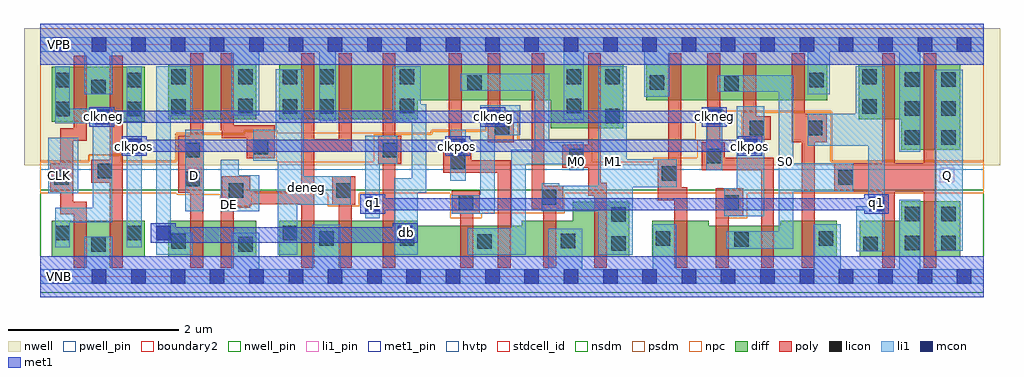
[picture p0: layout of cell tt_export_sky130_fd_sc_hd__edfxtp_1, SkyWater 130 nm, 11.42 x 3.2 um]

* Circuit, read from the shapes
.subckt tt_export_sky130_fd_sc_hd__edfxtp_1 CLK D DE Q VGND VNB VPB VPWR
XM1 VGND CLK n1 VNB sky130_fd_pr__nfet_01v8 w=0.42 l=0.15
XM2 n2 n1 VGND VNB sky130_fd_pr__nfet_01v8 w=0.42 l=0.15
XM3 n3 D n4 VNB sky130_fd_pr__nfet_01v8 w=0.42 l=0.15
XM4 VGND DE n3 VNB sky130_fd_pr__nfet_01v8 w=0.42 l=0.15
XM5 VGND DE n5 VNB sky130_fd_pr__nfet_01v8 w=0.42 l=0.15
XM6 n6 n5 VGND VNB sky130_fd_pr__nfet_01v8 w=0.42 l=0.15
XM7 n4 n7 n6 VNB sky130_fd_pr__nfet_01v8 w=0.42 l=0.15
XM8 n8 n1 n4 VNB sky130_fd_pr__nfet_01v8 w=0.36 l=0.15
XM9 n9 n2 n8 VNB sky130_fd_pr__nfet_01v8 w=0.36 l=0.15
XM10 VGND n10 n9 VNB sky130_fd_pr__nfet_01v8 w=0.42 l=0.15
XM11 n10 n8 VGND VNB sky130_fd_pr__nfet_01v8 w=0.64 l=0.15
XM12 n11 n10 VGND VNB sky130_fd_pr__nfet_01v8 w=0.42 l=0.15
XM13 n12 n2 n11 VNB sky130_fd_pr__nfet_01v8 w=0.36 l=0.15
XM14 n13 n1 n12 VNB sky130_fd_pr__nfet_01v8 w=0.36 l=0.15
XM15 VGND n7 n13 VNB sky130_fd_pr__nfet_01v8 w=0.42 l=0.15
XM16 VGND n12 n7 VNB sky130_fd_pr__nfet_01v8 w=0.42 l=0.15
XM17 Q n12 VGND VNB sky130_fd_pr__nfet_01v8 w=0.65 l=0.15
XM18 VPWR CLK n1 VPB sky130_fd_pr__pfet_01v8_hvt w=0.64 l=0.15
XM19 n2 n1 VPWR VPB sky130_fd_pr__pfet_01v8_hvt w=0.64 l=0.15
XM20 n14 D n4 VPB sky130_fd_pr__pfet_01v8_hvt w=0.64 l=0.15
XM21 VPWR n5 n14 VPB sky130_fd_pr__pfet_01v8_hvt w=0.64 l=0.15
XM22 VPWR DE n5 VPB sky130_fd_pr__pfet_01v8_hvt w=0.64 l=0.15
XM23 n15 DE VPWR VPB sky130_fd_pr__pfet_01v8_hvt w=0.64 l=0.15
XM24 n4 n7 n15 VPB sky130_fd_pr__pfet_01v8_hvt w=0.64 l=0.15
XM25 n8 n2 n4 VPB sky130_fd_pr__pfet_01v8_hvt w=0.42 l=0.15
XM26 n16 n1 n8 VPB sky130_fd_pr__pfet_01v8_hvt w=0.42 l=0.15
XM27 VPWR n10 n16 VPB sky130_fd_pr__pfet_01v8_hvt w=0.42 l=0.15
XM28 n10 n8 VPWR VPB sky130_fd_pr__pfet_01v8_hvt w=0.75 l=0.15
XM29 n17 n10 VPWR VPB sky130_fd_pr__pfet_01v8_hvt w=0.42 l=0.15
XM30 n12 n1 n17 VPB sky130_fd_pr__pfet_01v8_hvt w=0.42 l=0.15
XM31 n18 n2 n12 VPB sky130_fd_pr__pfet_01v8_hvt w=0.42 l=0.15
XM32 VPWR n7 n18 VPB sky130_fd_pr__pfet_01v8_hvt w=0.42 l=0.15
XM33 VPWR n12 n7 VPB sky130_fd_pr__pfet_01v8_hvt w=0.64 l=0.15
XM34 Q n12 VPWR VPB sky130_fd_pr__pfet_01v8_hvt w=1 l=0.15
.ends

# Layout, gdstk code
import gdstk
lib = gdstk.Library(unit=1e-6, precision=1e-09)
def R(c, l, rs):  # rectangles x0, y0, x1, y1
    for r in rs: c.add(gdstk.rectangle(r[:2], r[2:], *l))
def A(c, l, x, y, w, h, nx, ny, dx, dy):  # array of equal rectangles
    R(c, l, [(x+i*dx, y+j*dy, x+i*dx+w, y+j*dy+h) for i in range(nx) for j in range(ny)])
def P(c, l, *ps):  # polygons
    for p in ps: c.add(gdstk.Polygon(p, *l))
nwell_pin = (64, 16)
nwell = (64, 20)
diff = (65, 20)
poly = (66, 20)
licon = (66, 44)
li1_pin = (67, 16)
li1 = (67, 20)
mcon = (67, 44)
met1_pin = (68, 16)
met1 = (68, 20)
hvtp = (78, 44)
stdcell_id = (81, 4)
nsdm = (93, 44)
psdm = (94, 20)
npc = (95, 20)
pwell_pin = (122, 16)
boundary2 = (236, 0)

tt_export_sky130_fd_sc_h = lib.new_cell('tt_export_sky130_fd_sc_hd__edfxtp_1')
R(tt_export_sky130_fd_sc_h, nwell_pin, [(0.145,2.635,0.315,2.805), (0.145,2.635,0.315,2.805)])
R(tt_export_sky130_fd_sc_h, nwell, [(-0.19,1.305,11.23,2.91)])
R(tt_export_sky130_fd_sc_h, diff, [(0.135,0.235,1.225,0.655), (1.495,0.235,2.525,0.655), (0.135,1.815,1.225,2.455), (1.495,1.845,2.525,2.485), (7.09,2.065,9.21,2.485)])
P(tt_export_sky130_fd_sc_h, diff, [(7.16,0.235),(7.16,0.655),(7.82,0.655),(7.82,0.595),(8.66,0.595),(8.66,0.655),(9.32,0.655),(9.32,0.235)],
  [(10.075,1.485),(10.075,1.845),(9.58,1.845),(9.58,2.485),(10.765,2.485),(10.765,1.485)],
  [(9.59,0.235),(9.59,0.655),(10.075,0.655),(10.075,0.885),(10.765,0.885),(10.765,0.235)],
  [(2.795,0.235),(2.795,0.655),(4.415,0.655),(4.415,0.595),(5.635,0.595),(5.635,0.655),(6.23,0.655),(6.23,0.875),(6.89,0.875),(6.89,0.235)],
  [(5.975,1.735),(5.975,2.065),(4.415,2.065),(4.415,1.845),(2.795,1.845),(2.795,2.485),(6.82,2.485),(6.82,1.735)])
P(tt_export_sky130_fd_sc_h, poly, [(0.395,0.105),(0.395,0.73),(0.235,0.73),(0.235,0.995),(0.115,0.995),(0.115,1.325),(0.235,1.325),(0.235,1.74),(0.395,1.74),(0.395,2.585),(0.545,2.585),(0.545,1.59),(0.385,1.59),(0.385,0.88),(0.545,0.88),(0.545,0.105)],
  [(0.815,0.105),(0.815,1.1),(0.595,1.1),(0.595,1.37),(0.815,1.37),(0.815,2.585),(0.965,2.585),(0.965,0.105)],
  [(1.755,0.105),(1.755,0.98),(1.615,0.98),(1.615,1.65),(1.755,1.65),(1.755,2.615),(1.905,2.615),(1.905,1.65),(1.915,1.65),(1.915,0.98),(1.905,0.98),(1.905,0.105)],
  [(2.415,1.385),(2.415,1.62),(2.125,1.62),(2.125,1.715),(2.115,1.715),(2.115,2.615),(2.265,2.615),(2.265,1.77),(2.745,1.77),(2.745,1.385)],
  [(4.915,0.105),(4.915,0.735),(4.815,0.735),(4.815,1.005),(5.145,1.005),(5.145,0.735),(5.065,0.735),(5.065,0.105)],
  [(2.115,0.105),(2.115,0.88),(2.125,0.88),(2.125,1.175),(2.455,1.175),(2.455,1),(3.055,1),(3.055,2.615),(3.205,2.615),(3.205,1.61),(3.495,1.61),(3.495,2.615),(3.645,2.615),(3.645,1.46),(3.205,1.46),(3.205,0.105),(3.055,0.105),(3.055,0.85),(2.455,0.85),(2.455,0.81),(2.265,0.81),(2.265,0.105)],
  [(5.355,0.105),(5.355,1.215),(4.715,1.215),(4.715,1.485),(4.78,1.485),(4.78,2.615),(4.93,2.615),(4.93,1.485),(5.045,1.485),(5.045,1.365),(5.505,1.365),(5.505,0.105)],
  [(5.235,1.575),(5.235,2.615),(5.385,2.615),(5.385,1.905),(5.54,1.905),(5.54,1.575)],
  [(5.885,0.105),(5.885,0.795),(5.75,0.795),(5.75,2.615),(5.9,2.615),(5.9,1.065),(6.12,1.065),(6.12,0.795),(6.035,0.795),(6.035,0.105)],
  [(6.48,0.105),(6.48,0.95),(6.41,0.95),(6.41,1.275),(6.11,1.275),(6.11,1.545),(6.41,1.545),(6.41,2.615),(6.56,2.615),(6.56,1.1),(6.63,1.1),(6.63,0.105)],
  [(7.42,0.105),(7.42,0.895),(7.225,0.895),(7.225,1.375),(7.35,1.375),(7.35,2.615),(7.5,2.615),(7.5,1.045),(7.57,1.045),(7.57,0.105)],
  [(7.905,0.105),(7.905,1.035),(8.225,1.035),(8.225,0.705),(8.055,0.705),(8.055,0.105)],
  [(8.22,1.605),(8.22,1.875),(8.225,1.875),(8.225,2.615),(8.375,2.615),(8.375,1.875),(8.55,1.875),(8.55,1.605)],
  [(8.435,0.105),(8.435,1.245),(7.74,1.245),(7.74,1.575),(7.805,1.575),(7.805,2.615),(7.955,2.615),(7.955,1.575),(8.01,1.575),(8.01,1.395),(8.585,1.395),(8.585,0.105)],
  [(8.91,0.105),(8.91,1.575),(8.795,1.575),(8.795,2.615),(8.945,2.615),(8.945,1.905),(9.2,1.905),(9.2,1.575),(9.06,1.575),(9.06,0.105)],
  [(9.85,0.105),(9.85,0.995),(9.29,0.995),(9.29,1.325),(9.85,1.325),(9.85,2.615),(10,2.615),(10,1.325),(10.335,1.325),(10.335,2.615),(10.485,2.615),(10.485,0.105),(10.335,0.105),(10.335,0.995),(10,0.995),(10,0.105)],
  [(3.495,0.105),(3.495,0.845),(3.415,0.845),(3.415,1.175),(3.685,1.175),(3.685,0.845),(3.645,0.845),(3.645,0.105)],
  [(4.005,0.105),(4.005,1.32),(3.955,1.32),(3.955,1.65),(4.005,1.65),(4.005,2.615),(4.155,2.615),(4.155,1.65),(4.225,1.65),(4.225,1.32),(4.155,1.32),(4.155,0.105)])
A(tt_export_sky130_fd_sc_h, licon, 10.115, 1.545, 0.17, 0.17, 1, 3, 0, 0.34)
A(tt_export_sky130_fd_sc_h, licon, 10.545, 1.545, 0.17, 0.17, 1, 3, 0, 0.34)
R(tt_export_sky130_fd_sc_h, licon, [(0.595,0.295,0.765,0.465), (2.315,0.295,2.485,0.465), (9.63,0.3,9.8,0.47), (6.68,0.305,6.85,0.475), (10.115,0.31,10.285,0.48), (10.545,0.31,10.715,0.48), (5.115,0.325,5.285,0.495), (1.535,0.33,1.705,0.5), (6.09,0.335,6.26,0.505), (8.12,0.35,8.29,0.52), (3.265,0.36,3.435,0.53), (4.205,0.36,4.375,0.53), (7.2,0.365,7.37,0.535), (9.11,0.365,9.28,0.535), (0.175,0.425,0.345,0.595), (1.015,0.425,1.185,0.595), (2.835,0.425,3.005,0.595), (6.68,0.645,6.85,0.815), (10.115,0.65,10.285,0.82), (10.545,0.65,10.715,0.82), (4.895,0.785,5.065,0.955), (8.005,0.785,8.175,0.955), (5.87,0.845,6.04,1.015), (2.205,0.925,2.375,1.095), (3.465,0.925,3.635,1.095), (1.695,1.06,1.865,1.23), (0.165,1.075,0.335,1.245), (9.34,1.075,9.51,1.245), (7.275,1.125,7.445,1.295), (0.675,1.15,0.845,1.32), (4.795,1.265,4.965,1.435), (6.19,1.325,6.36,1.495), (7.79,1.325,7.96,1.495), (1.695,1.4,1.865,1.57), (4.005,1.4,4.175,1.57), (2.495,1.435,2.665,1.605), (5.32,1.655,5.49,1.825), (8.3,1.655,8.47,1.825), (8.98,1.655,9.15,1.825), (6.61,1.795,6.78,1.965), (0.175,1.875,0.345,2.045), (1.015,1.875,1.185,2.045), (1.535,1.905,1.705,2.075), (2.835,1.905,3.005,2.075), (3.265,1.905,3.435,2.075), (9.62,1.905,9.79,2.075), (2.315,1.915,2.485,2.085), (4.205,1.915,4.375,2.085), (6.16,1.915,6.33,2.085), (0.595,2.135,0.765,2.305), (8.005,2.175,8.175,2.345), (4.995,2.19,5.165,2.36), (7.13,2.19,7.3,2.36), (0.175,2.215,0.345,2.385), (1.015,2.215,1.185,2.385), (9,2.215,9.17,2.385), (1.535,2.255,1.705,2.425), (2.315,2.255,2.485,2.425), (2.835,2.255,3.005,2.425), (3.265,2.255,3.435,2.425), (4.205,2.255,4.375,2.425), (6.16,2.255,6.33,2.425), (6.61,2.255,6.78,2.425), (9.62,2.255,9.79,2.425)])
R(tt_export_sky130_fd_sc_h, li1_pin, [(2.13,0.765,2.3,0.935), (0.145,1.105,0.315,1.275), (1.72,1.105,1.89,1.275), (10.525,1.105,10.695,1.275)])
R(tt_export_sky130_fd_sc_h, li1, [(10.465,0.305,10.795,2.42), (1.015,0.345,1.185,2.465), (1.695,0.765,1.915,1.72), (0.095,0.975,0.445,1.625), (4.795,1.125,4.98,1.72), (7.79,1.245,7.98,1.965)])
P(tt_export_sky130_fd_sc_h, li1, [(0.175,0.345),(0.175,0.805),(0.615,0.805),(0.615,1.795),(0.175,1.795),(0.175,2.465),(0.345,2.465),(0.345,1.965),(0.845,1.965),(0.845,0.635),(0.345,0.635),(0.345,0.345)],
  [(1.355,0.255),(1.355,2.465),(1.785,2.465),(1.785,1.89),(1.525,1.89),(1.525,0.515),(1.785,0.515),(1.785,0.255)],
  [(4.815,0.735),(4.815,0.955),(5.15,0.955),(5.15,2.005),(5.615,2.005),(5.615,1.655),(5.32,1.655),(5.32,0.735)],
  [(5.005,0.255),(5.005,0.565),(5.51,0.565),(5.51,1.485),(5.785,1.485),(5.785,2.175),(4.915,2.175),(4.915,2.375),(5.955,2.375),(5.955,1.575),(6.36,1.575),(6.36,1.245),(6.19,1.245),(6.19,1.315),(5.68,1.315),(5.68,0.255)],
  [(2.11,0.765),(2.11,1.37),(2.325,1.37),(2.325,1.185),(2.565,1.185),(2.565,0.765)],
  [(2.78,0.255),(2.78,1.355),(2.495,1.355),(2.495,1.72),(2.755,1.72),(2.755,2.425),(3.085,2.425),(3.085,1.175),(3.635,1.175),(3.635,0.845),(3.005,0.845),(3.005,0.255)],
  [(6.53,0.255),(6.53,0.765),(5.87,0.765),(5.87,1.095),(6.07,1.095),(6.07,1.065),(6.53,1.065),(6.53,2.465),(6.86,2.465),(6.86,1.375),(7.445,1.375),(7.445,1.045),(6.935,1.045),(6.935,0.255)],
  [(8.005,0.705),(8.005,1.035),(8.15,1.035),(8.15,1.995),(8.47,1.995),(8.47,0.705)],
  [(8.025,0.33),(8.025,0.535),(8.64,0.535),(8.64,2.165),(7.925,2.165),(7.925,2.355),(8.81,2.355),(8.81,1.325),(9.51,1.325),(9.51,0.995),(8.81,0.995),(8.81,0.33)],
  [(9.55,0.3),(9.55,0.825),(9.69,0.825),(9.69,1.53),(8.98,1.53),(8.98,1.905),(9.54,1.905),(9.54,2.465),(9.88,2.465),(9.88,0.3)],
  [(10.05,1.465),(10.05,2.635),(9.24,2.635),(9.24,2.135),(8.98,2.135),(8.98,2.635),(7.36,2.635),(7.36,2.105),(7.07,2.105),(7.07,2.635),(6.36,2.635),(6.36,1.835),(6.125,1.835),(6.125,2.635),(3.46,2.635),(3.46,1.825),(3.265,1.825),(3.265,2.635),(2.565,2.635),(2.565,1.89),(2.235,1.89),(2.235,2.635),(0.845,2.635),(0.845,2.135),(0.515,2.135),(0.515,2.635),(0,2.635),(0,2.805),(11.04,2.805),(11.04,2.635),(10.295,2.635),(10.295,1.465)],
  [(0,-0.085),(0,0.085),(0.515,0.085),(0.515,0.465),(0.845,0.465),(0.845,0.085),(2.235,0.085),(2.235,0.515),(2.565,0.515),(2.565,0.085),(3.185,0.085),(3.185,0.61),(3.515,0.61),(3.515,0.085),(5.945,0.085),(5.945,0.56),(6.34,0.56),(6.34,0.085),(7.165,0.085),(7.165,0.615),(7.44,0.615),(7.44,0.085),(9.05,0.085),(9.05,0.615),(9.365,0.615),(9.365,0.085),(10.05,0.085),(10.05,0.9),(10.295,0.9),(10.295,0.085),(11.04,0.085),(11.04,-0.085)],
  [(3.805,0.685),(3.805,1.65),(4.175,1.65),(4.175,1.32),(3.975,1.32),(3.975,0.685)],
  [(4.145,0.255),(4.145,1.15),(4.345,1.15),(4.345,1.82),(4.125,1.82),(4.125,2.465),(4.455,2.465),(4.455,2.02),(4.515,2.02),(4.515,0.98),(4.415,0.98),(4.415,0.255)])
A(tt_export_sky130_fd_sc_h, mcon, 0.145, -0.085, 0.17, 0.17, 24, 2, 0.46, 2.72)
R(tt_export_sky130_fd_sc_h, mcon, [(1.355,0.425,1.525,0.595), (4.185,0.425,4.355,0.595), (3.805,0.765,3.975,0.935), (9.7,0.765,9.87,0.935), (1.015,1.445,1.185,1.615), (4.8,1.445,4.97,1.615), (8.22,1.445,8.39,1.615), (0.635,1.785,0.805,1.955), (5.21,1.785,5.38,1.955), (7.8,1.785,7.97,1.955)])
R(tt_export_sky130_fd_sc_h, met1_pin, [(0.145,-0.085,0.315,0.085), (0.145,2.635,0.315,2.805)])
R(tt_export_sky130_fd_sc_h, met1, [(0,-0.24,11.04,0.24), (0,2.48,11.04,2.96)])
P(tt_export_sky130_fd_sc_h, met1, [(0.575,1.755),(0.575,1.985),(0.865,1.985),(0.865,1.94),(5.15,1.94),(5.15,1.985),(5.44,1.985),(5.44,1.94),(7.74,1.94),(7.74,1.985),(8.03,1.985),(8.03,1.755),(7.74,1.755),(7.74,1.8),(5.44,1.8),(5.44,1.755),(5.15,1.755),(5.15,1.8),(0.865,1.8),(0.865,1.755)],
  [(3.745,0.735),(3.745,0.965),(4.035,0.965),(4.035,0.92),(9.64,0.92),(9.64,0.965),(9.93,0.965),(9.93,0.735),(9.64,0.735),(9.64,0.78),(4.035,0.78),(4.035,0.735)],
  [(1.295,0.395),(1.295,0.625),(1.585,0.625),(1.585,0.58),(4.125,0.58),(4.125,0.625),(4.415,0.625),(4.415,0.395)],
  [(0.955,1.415),(0.955,1.645),(1.245,1.645),(1.245,1.6),(4.74,1.6),(4.74,1.645),(5.03,1.645),(5.03,1.6),(8.16,1.6),(8.16,1.645),(8.45,1.645),(8.45,1.415),(8.16,1.415),(8.16,1.46),(5.03,1.46),(5.03,1.415),(4.74,1.415),(4.74,1.46),(1.245,1.46),(1.245,1.415)])
R(tt_export_sky130_fd_sc_h, hvtp, [(0,1.25,11.04,2.72)])
R(tt_export_sky130_fd_sc_h, stdcell_id, [(0,0,11.04,2.72)])
R(tt_export_sky130_fd_sc_h, nsdm, [(0,-0.19,11.04,1.015)])
P(tt_export_sky130_fd_sc_h, psdm, [(0,1.355),(0,2.91),(11.04,2.91),(11.04,1.355),(9.26,1.355),(9.26,1.935),(7.67,1.935),(7.67,1.605),(5.6,1.605),(5.6,1.935),(5.21,1.935),(5.21,1.715),(4.575,1.715),(4.575,1.68),(2.775,1.68),(2.775,1.715),(2.385,1.715),(2.385,1.68),(1.585,1.68),(1.585,1.355),(0.955,1.355),(0.955,1.43),(0.565,1.43),(0.565,1.355)])
P(tt_export_sky130_fd_sc_h, npc, [(4.795,0.685),(4.795,0.975),(3.735,0.975),(3.735,0.825),(3.365,0.825),(3.365,0.975),(2.475,0.975),(2.475,0.825),(2.105,0.825),(2.105,0.96),(1.595,0.96),(1.595,0.975),(0,0.975),(0,1.345),(0.575,1.345),(0.575,1.42),(0.945,1.42),(0.945,1.345),(1.595,1.345),(1.595,1.67),(2.395,1.67),(2.395,1.705),(2.765,1.705),(2.765,1.345),(3.905,1.345),(3.905,1.67),(4.585,1.67),(4.585,1.705),(5.22,1.705),(5.22,1.925),(5.59,1.925),(5.59,1.595),(6.46,1.595),(6.46,1.345),(7.175,1.345),(7.175,1.395),(7.69,1.395),(7.69,1.595),(8.2,1.595),(8.2,1.925),(9.25,1.925),(9.25,1.345),(11.04,1.345),(11.04,0.975),(8.275,0.975),(8.275,0.685),(7.905,0.685),(7.905,0.975),(6.14,0.975),(6.14,0.745),(5.165,0.745),(5.165,0.685)])
R(tt_export_sky130_fd_sc_h, pwell_pin, [(0.145,-0.085,0.315,0.085), (0.145,-0.085,0.315,0.085)])
R(tt_export_sky130_fd_sc_h, boundary2, [(0,0,11.04,2.72)])
tt_export_sky130_fd_sc_h.add(gdstk.Label('CLK', (0.23,1.19), layer=67, texttype=5))
tt_export_sky130_fd_sc_h.add(gdstk.Label('DE', (2.215,0.85), layer=67, texttype=5))
tt_export_sky130_fd_sc_h.add(gdstk.Label('D', (1.805,1.19), layer=67, texttype=5))
tt_export_sky130_fd_sc_h.add(gdstk.Label('Q', (10.61,1.19), layer=67, texttype=5))
tt_export_sky130_fd_sc_h.add(gdstk.Label('VNB', (0.23,0), layer=64, texttype=59))
tt_export_sky130_fd_sc_h.add(gdstk.Label('VNB', (0.23,0), layer=64, texttype=59))
tt_export_sky130_fd_sc_h.add(gdstk.Label('VNB', (0.23,0), layer=64, texttype=59))
tt_export_sky130_fd_sc_h.add(gdstk.Label('VPB', (0.23,2.72), layer=64, texttype=5))
tt_export_sky130_fd_sc_h.add(gdstk.Label('VPB', (0.23,2.72), layer=64, texttype=5))
tt_export_sky130_fd_sc_h.add(gdstk.Label('VPWR', (0.23,2.72), layer=68, texttype=5))
tt_export_sky130_fd_sc_h.add(gdstk.Label('VGND', (0.23,0), layer=68, texttype=5))
tt_export_sky130_fd_sc_h.add(gdstk.Label('edfxtp_1', (0,0), layer=83, texttype=44))
tt_export_sky130_fd_sc_h.add(gdstk.Label('clkpos', (4.865,1.52), layer=83, texttype=44))
tt_export_sky130_fd_sc_h.add(gdstk.Label('clkneg', (5.3,1.87), layer=83, texttype=44))
tt_export_sky130_fd_sc_h.add(gdstk.Label('q1', (9.785,0.87), layer=83, texttype=44))
tt_export_sky130_fd_sc_h.add(gdstk.Label('clkpos', (1.095,1.52), layer=83, texttype=44))
tt_export_sky130_fd_sc_h.add(gdstk.Label('clkneg', (0.735,1.87), layer=83, texttype=44))
tt_export_sky130_fd_sc_h.add(gdstk.Label('deneg', (3.115,1.045), layer=83, texttype=44))
tt_export_sky130_fd_sc_h.add(gdstk.Label('db', (4.28,0.52), layer=83, texttype=44))
tt_export_sky130_fd_sc_h.add(gdstk.Label('q1', (3.9,0.87), layer=83, texttype=44))
tt_export_sky130_fd_sc_h.add(gdstk.Label('clkpos', (8.3,1.52), layer=83, texttype=44))
tt_export_sky130_fd_sc_h.add(gdstk.Label('clkneg', (7.885,1.87), layer=83, texttype=44))
tt_export_sky130_fd_sc_h.add(gdstk.Label('S0', (8.725,1.345), layer=83, texttype=44))
tt_export_sky130_fd_sc_h.add(gdstk.Label('M0', (6.28,1.345), layer=83, texttype=44))
tt_export_sky130_fd_sc_h.add(gdstk.Label('M1', (6.71,1.345), layer=83, texttype=44))

lib.write_gds('tt_export_sky130_fd_sc_hd__edfxtp_1.gds')
